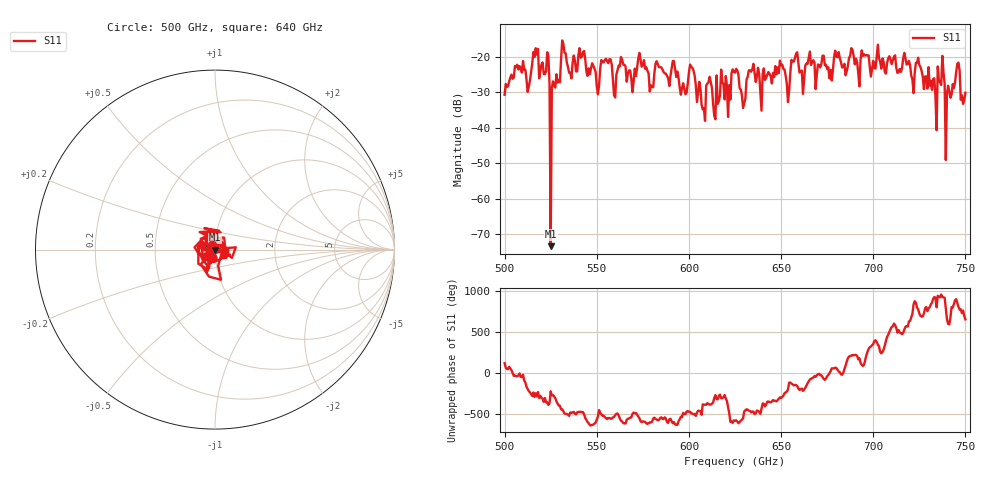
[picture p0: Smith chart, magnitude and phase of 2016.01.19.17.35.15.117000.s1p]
!Created with skrf (http://scikit-rf.org).
# GHz S RI R 50.0
!freq ReS11 ImS11
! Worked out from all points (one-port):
!   401 points, 500 GHz to 750 GHz, reference 50 ohm
!   lowest |S11| = -73.4 dB at 525 GHz (marker M1), VSWR 1.00, Z = 50 + j0.0136 ohm
!   |S11| at or under -10 dB: start of sweep to end of sweep
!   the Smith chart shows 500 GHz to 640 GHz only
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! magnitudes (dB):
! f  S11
! 500 GHz  -30.7
! 506.9 GHz  -22.2
! 513.1 GHz  -28.4
! 516.9 GHz  -17.5
! 523.1 GHz  -18.7
! 523.8 GHz  -19.6
! 525 GHz  -73.4
! 526.2 GHz  -26.9
! 531.2 GHz  -15.3
! 550 GHz  -28.3
! 562.5 GHz  -22.6
! 593.8 GHz  -24.1
! 601.9 GHz  -23.0
! 607.5 GHz  -34.8
! 610.6 GHz  -27.0
! 614.4 GHz  -37.6
! 625 GHz  -24.4
! 629.4 GHz  -34.4
! 633.8 GHz  -24.1
! 653.8 GHz  -32.7
! 656.2 GHz  -21.3
! 687.5 GHz  -19.6
! 718.8 GHz  -21.9
! 733.1 GHz  -26.0
! 737.5 GHz  -19.7
! 740.6 GHz  -28.1
! 745.6 GHz  -21.9
! 750 GHz  -30.1
